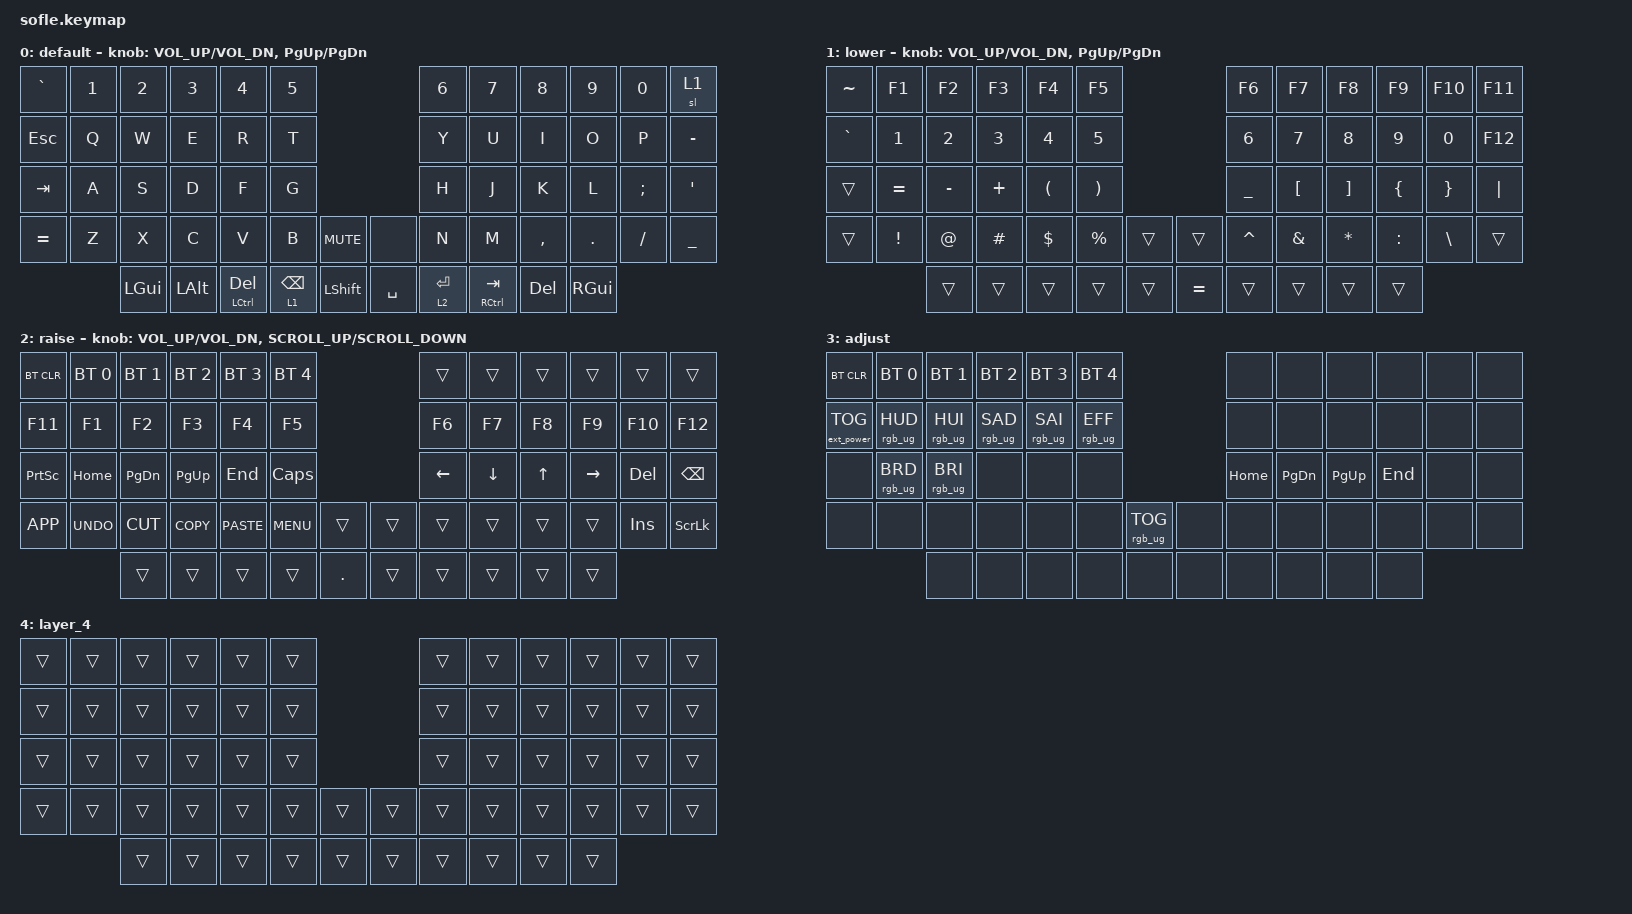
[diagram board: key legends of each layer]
/*
 * Copyright (c) 2020 The ZMK Contributors
 *
 * SPDX-License-Identifier: MIT
 */

#include <behaviors.dtsi>
#include <dt-bindings/zmk/bt.h>
#include <dt-bindings/zmk/ext_power.h>
#include <dt-bindings/zmk/keys.h>
#include <dt-bindings/zmk/rgb.h>

#define BASE 0
#define LOWER 1
#define RAISE 2
#define ADJUST 3

/ {
    // Activate ADJUST layer by pressing raise and lower

    conditional_layers {
        compatible = "zmk,conditional-layers";

        adjust_layer {
            if-layers = <1 2>;
            then-layer = <3>;
        };
    };

    keymap {
        compatible = "zmk,keymap";

        default_layer {
            display-name = "default";

            // ------------------------------------------------------------------------------------------------------------
            // |   `   |  1  |  2  |  3   |  4   |  5   |                   |  6   |  7    |  8    |  9   |   0   |       |
            // |  ESC  |  Q  |  W  |  E   |  R   |  T   |                   |  Y   |  U    |  I    |  O   |   P   | BKSPC |
            // |  TAB  |  A  |  S  |  D   |  F   |  G   |                   |  H   |  J    |  K    |  L   |   ;   |   '   |
            // | SHIFT |  Z  |  X  |  C   |  V   |  B   |  MUTE  |  |       |  N   |  M    |  ,    |  .   |   /   | SHIFT |
            //               | GUI | ALT  | CTRL | LOWER|  ENTER |  | SPACE | RAISE| CTRL  | ALT   | GUI  |

            bindings = <
&kp GRAVE  &kp N1  &kp N2    &kp N3    &kp N4            &kp N5                                        &kp N6       &kp N7         &kp N8      &kp N9    &kp N0    &sl 1
&kp ESC    &kp Q   &kp W     &kp E     &kp R             &kp T                                         &kp Y        &kp U          &kp I       &kp O     &kp P     &kp MINUS
&kp TAB    &kp A   &kp S     &kp D     &kp F             &kp G                                         &kp H        &kp J          &kp K       &kp L     &kp SEMI  &kp SQT
&kp EQUAL  &kp Z   &kp X     &kp C     &kp V             &kp B            &kp C_MUTE        &none      &kp N        &kp M          &kp COMMA   &kp DOT   &kp FSLH  &kp UNDER
                   &kp LGUI  &kp LALT  &mt LCTRL DELETE  &lt 1 BACKSPACE  &kp LEFT_SHIFT    &kp SPACE  &lt 2 ENTER  &mt RCTRL TAB  &kp DELETE  &kp RGUI
            >;

            sensor-bindings = <&inc_dec_kp C_VOL_UP C_VOL_DN &inc_dec_kp PG_UP PG_DN>;
        };

        lower_layer {
            display-name = "lower";

            // TODO: Some binds are waiting for shifted keycode support.
            // ------------------------------------------------------------------------------------------------------------
            // |       |  F1 |  F2 |  F3  |  F4  |  F5  |                   |  F6  |  F7   |  F8   |  F9  |  F10  |  F11  |
            // |   `   |  1  |  2  |  3   |  4   |  5   |                   |  6   |  7    |  8    |  9   |   0   |  F12  |
            // |       |  !  |  @  |  #   |  $   |  %   |                   |  ^   |  &    |  *    |  (   |   )   |   |   |
            // |       |  =  |  -  |  +   |  {   |  }   |        |  |       |  [   |  ]    |  ;    |  :   |   \   |       |
            //               |     |      |      |      |        |  |       |      |       |       |      |

            bindings = <
&kp TILDE  &kp F1           &kp F2       &kp F3    &kp F4                &kp F5                                      &kp F6     &kp F7            &kp F8             &kp F9          &kp F10          &kp F11
&kp GRAVE  &kp N1           &kp N2       &kp N3    &kp N4                &kp N5                                      &kp N6     &kp N7            &kp N8             &kp N9          &kp N0           &kp F12
&trans     &kp EQUAL        &kp MINUS    &kp PLUS  &kp LEFT_PARENTHESIS  &kp RIGHT_PARENTHESIS                       &kp UNDER  &kp LEFT_BRACKET  &kp RIGHT_BRACKET  &kp LEFT_BRACE  &kp RIGHT_BRACE  &kp PIPE
&trans     &kp EXCLAMATION  &kp AT_SIGN  &kp HASH  &kp DOLLAR            &kp PERCENT            &trans    &trans     &kp CARET  &kp AMPERSAND     &kp ASTERISK       &kp COLON       &kp BSLH         &trans
                            &trans       &trans    &trans                &trans                 &trans    &kp EQUAL  &trans     &trans            &trans             &trans
            >;

            sensor-bindings = <&inc_dec_kp C_VOL_UP C_VOL_DN &inc_dec_kp PG_UP PG_DN>;
        };

        raise_layer {
            display-name = "raise";

            // ------------------------------------------------------------------------------------------------------------
            // | BTCLR | BT1  | BT2  |  BT3  |  BT4  |  BT5 |                |      |      |       |      |       |       |
            // |       | INS  | PSCR | GUI   |       |      |                | HOME | PGDN | PGUP  | END  |       |       |
            // |       | ALT  | CTRL | SHIFT |       | CAPS |                |  <-  |   v  |   ^   |  ->  |  DEL  | BKSPC |
            // |       | UNDO | CUT  | COPY  | PASTE |      |      |  |      |      |      |       |      |       |       |
            //                |      |       |       |      |      |  |      |      |      |       |      |

            bindings = <
&bt BT_CLR  &bt BT_SEL 0  &bt BT_SEL 1   &bt BT_SEL 2  &bt BT_SEL 3  &bt BT_SEL 4                        &trans          &trans          &trans        &trans     &trans   &trans
&kp F11     &kp F1        &kp F2         &kp F3        &kp F4        &kp F5                              &kp F6          &kp F7          &kp F8        &kp F9     &kp F10  &kp F12
&kp PSCRN   &kp HOME      &kp PAGE_DOWN  &kp PG_UP     &kp END       &kp CLCK                            &kp LEFT_ARROW  &kp DOWN_ARROW  &kp UP_ARROW  &kp RIGHT  &kp DEL  &kp BSPC
&kp K_APP   &kp K_UNDO    &kp K_CUT      &kp K_COPY    &kp K_PASTE   &kp K_MENU    &trans        &trans  &trans          &trans          &trans        &trans     &kp INS  &kp SCROLLLOCK
                          &trans         &trans        &trans        &trans        &kp PERIOD    &trans  &trans          &trans          &trans        &trans
            >;

            sensor-bindings =
                <&inc_dec_kp C_VOL_UP C_VOL_DN>,
                <&inc_dec_kp K_SCROLL_UP K_SCROLL_DOWN>;
        };

        adjust_layer {
            // ----------------------------------------------------------------------------------------------------------------------------
            // | BTCLR  |  BT1    |  BT2    |   BT3   |   BT4   |   BT5   |                  |      |      |       |      |       |       |
            // | EXTPWR | RGB_HUD | RGB_HUI | RGB_SAD | RGB_SAI | RGB_EFF |                  |      |      |       |      |       |       |
            // |        | RGB_BRD | RGB_BRI |         |         |         |                  |      |      |       |      |       |       |
            // |        |         |         |         |         |         | RGB_TOG | |      |      |      |       |      |       |       |
            //                    |         |         |         |         |         | |      |      |      |       |      |

            display-name = "adjust";
            bindings = <
&bt BT_CLR         &bt BT_SEL 0     &bt BT_SEL 1     &bt BT_SEL 2     &bt BT_SEL 3     &bt BT_SEL 4                               &none     &none          &none        &none    &none  &none
&ext_power EP_TOG  &rgb_ug RGB_HUD  &rgb_ug RGB_HUI  &rgb_ug RGB_SAD  &rgb_ug RGB_SAI  &rgb_ug RGB_EFF                            &none     &none          &none        &none    &none  &none
&none              &rgb_ug RGB_BRD  &rgb_ug RGB_BRI  &none            &none            &none                                      &kp HOME  &kp PAGE_DOWN  &kp PAGE_UP  &kp END  &none  &none
&none              &none            &none            &none            &none            &none            &rgb_ug RGB_TOG    &none  &none     &none          &none        &none    &none  &none
                                    &none            &none            &none            &none            &none              &none  &none     &none          &none        &none
            >;
        };

        layer_4 {
            bindings = <
&trans  &trans  &trans  &trans  &trans  &trans                    &trans  &trans  &trans  &trans  &trans  &trans
&trans  &trans  &trans  &trans  &trans  &trans                    &trans  &trans  &trans  &trans  &trans  &trans
&trans  &trans  &trans  &trans  &trans  &trans                    &trans  &trans  &trans  &trans  &trans  &trans
&trans  &trans  &trans  &trans  &trans  &trans  &trans    &trans  &trans  &trans  &trans  &trans  &trans  &trans
                &trans  &trans  &trans  &trans  &trans    &trans  &trans  &trans  &trans  &trans
            >;
        };
    };
};
